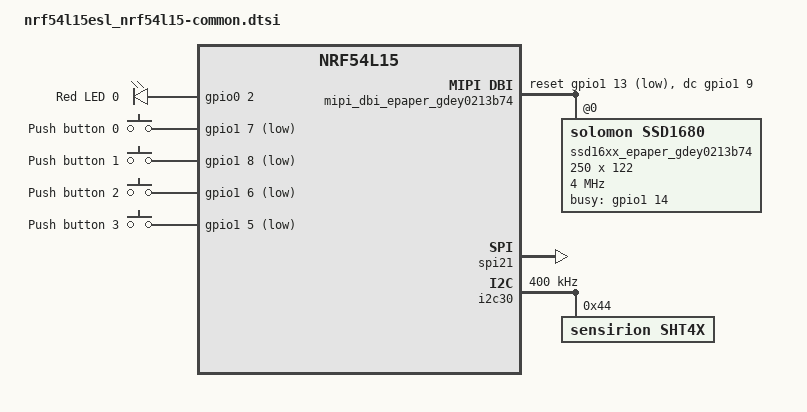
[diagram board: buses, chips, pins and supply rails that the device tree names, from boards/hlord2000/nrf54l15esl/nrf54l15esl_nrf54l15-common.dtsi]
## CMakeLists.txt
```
# SPDX-License-Identifier: Apache-2.0

cmake_minimum_required(VERSION 3.20.0)

find_package(Zephyr REQUIRED HINTS $ENV{ZEPHYR_BASE})
project(esl_peripheral_sync)

target_sources_ifdef(CONFIG_PAWR_EPD app PRIVATE 
					 src/display_manager.c
					 src/state_manager.c
					 src/ui_manager.c
					 src/routes/boot.c
					 src/routes/config.c
					 src/routes/nametag.c
					 src/images/nordic.c
					 src/images/boston.c
					 src/images/philadelphia.c
					 src/images/spartanburg.c
					 src/images/trondheim.c
					 src/images/sanjose.c
	   				 src/peripheral_sync.c
)

target_sources_ifdef(CONFIG_PAWR_EPD_POWER_PROFILING app PRIVATE
					 src/power_profiling.c
)

#target_sources_ifdef(CONFIG_SENSOR app PRIVATE src/environmental_sensor.c)
#target_sources_ifdef(CONFIG_INPUT app PRIVATE src/input_manager.c)

target_include_directories(app PRIVATE
	include
	${CMAKE_CURRENT_SOURCE_DIR}/../common/include
)
```

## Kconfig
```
menu "PAwR Mosaic Configuration"

config PAWR_EPD
	bool "Enabled EPD for PAwR demo"
	select DISPLAY
	imply LVGL
	imply LV_MEM_CUSTOM
	imply LV_USE_LOG
	imply LV_USE_LABEL
	imply LV_USE_IMG
	imply LV_USE_THEME_MONO
	imply LV_FONT_MONTSERRAT_10
	imply LV_FONT_MONTSERRAT_12
	imply LV_FONT_MONTSERRAT_14
	imply LV_FONT_MONTSERRAT_16
	imply LV_FONT_MONTSERRAT_18
	imply LV_FONT_MONTSERRAT_24

config PAWR_EPD_POWER_PROFILING 
	bool "Test power of EPD"
	select DISPLAY

endmenu

if PAWR_EPD

config LV_Z_VDB_SIZE
	default 16

config LV_DPI_DEF
	default 130

choice LV_COLOR_DEPTH
	default LV_COLOR_DEPTH_1
endchoice

config LV_Z_BITS_PER_PIXEL
	default 1

endif # PAWR_EPD

source "Kconfig.zephyr"
```

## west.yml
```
# Copyright (c) 2021 Nordic Semiconductor ASA
# SPDX-License-Identifier: Apache-2.0

manifest:
  remotes:
    - name: helmut 
      url-base: https://github.com/hlord2000

  projects:
    - name: nrf
      remote: helmut 
      repo-path: sdk-nrf
      revision: main
      import: true
```

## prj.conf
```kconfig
CONFIG_LOG=y
CONFIG_CONSOLE=y
CONFIG_SHELL=y

CONFIG_PM_DEVICE=y
CONFIG_PM_DEVICE_RUNTIME=y

CONFIG_MAIN_STACK_SIZE=4096

CONFIG_DISPLAY=y

CONFIG_PAWR_EPD_POWER_PROFILING=y

CONFIG_SENSOR=y
CONFIG_INPUT=y

CONFIG_DISPLAY_LOG_LEVEL_DBG=y
CONFIG_PM_DEVICE_LOG_LEVEL_DBG=y
CONFIG_LOG_MODE_IMMEDIATE=y

CONFIG_POWEROFF=y
```

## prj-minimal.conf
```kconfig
CONFIG_LOG=n
CONFIG_CONSOLE=n
CONFIG_SHELL=n
CONFIG_SERIAL=n
CONFIG_PRINTK=n
```

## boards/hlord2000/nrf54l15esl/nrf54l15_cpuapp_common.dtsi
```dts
/*
 * Copyright (c) 2024 Nordic Semiconductor ASA
 *
 * SPDX-License-Identifier: Apache-2.0
 */

/* This file is common to the secure and non-secure domain */

#include <nordic/nrf54l15_cpuapp.dtsi>
#include "nrf54l15esl_nrf54l15-common.dtsi"

/ {
	chosen {
		zephyr,console = &uart20;
		zephyr,shell-uart = &uart20;
		zephyr,uart-mcumgr = &uart20;
		zephyr,bt-mon-uart = &uart20;
		zephyr,bt-c2h-uart = &uart20;
		zephyr,flash-controller = &rram_controller;
		zephyr,flash = &cpuapp_rram;
		zephyr,ieee802154 = &ieee802154;
	};
};

&cpuapp_sram {
	status = "okay";
};

&lfxo {
	load-capacitors = "internal";
	load-capacitance-femtofarad = <7000>;
};

&hfxo {
	load-capacitors = "internal";
	load-capacitance-femtofarad = <17000>;
};

&regulators {
	status = "okay";
};

&vregmain {
	status = "okay";
	regulator-initial-mode = <NRF5X_REG_MODE_DCDC>;
};

&grtc {
	owned-channels = <0 1 2 3 4 5 6 7 8 9 10 11>;
	/* Channels 7-11 reserved for Zero Latency IRQs, 3-4 for FLPR */
	child-owned-channels = <3 4 7 8 9 10 11>;
	status = "okay";
};

&uicr {
	nfct-pins-as-gpios;
};

&cpuapp_rram {
	partitions {
		compatible = "fixed-partitions";
		#address-cells = <1>;
		#size-cells = <1>;
		boot_partition: partition@0 {
			label = "mcuboot";
			reg = <0x0 DT_SIZE_K(64)>;
		};
		slot0_partition: partition@10000 {
			label = "image-0";
			reg = <0x10000 DT_SIZE_K(324)>;
		};
		slot0_ns_partition: partition@61000 {
			label = "image-0-nonsecure";
			reg = <0x61000 DT_SIZE_K(324)>;
		};
		slot1_partition: partition@b2000 {
			label = "image-1";
			reg = <0xb2000 DT_SIZE_K(324)>;
		};
		slot1_ns_partition: partition@103000 {
			label = "image-1-nonsecure";
			reg = <0x103000 DT_SIZE_K(324)>;
		};
		/* 32k from 0x154000 to 0x15bfff reserved for TF-M partitions */
		storage_partition: partition@15c000 {
			label = "storage";
			reg = <0x15c000 DT_SIZE_K(36)>;
		};
	};
};

&uart20 {
	status = "okay";
};

&gpio0 {
	status = "okay";
};

&gpio1 {
	status = "okay";
};

&gpio2 {
	status = "okay";
};

&gpiote20 {
	status = "okay";
};

&gpiote30 {
	status = "okay";
};

&radio {
	status = "okay";
};

&ieee802154 {
	status = "okay";
};

&temp {
	status = "okay";
};

&clock {
	status = "okay";
};

&adc {
	status = "okay";
};
```

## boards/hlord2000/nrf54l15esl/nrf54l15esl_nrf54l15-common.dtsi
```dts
/*
 * Copyright (c) 2024 Nordic Semiconductor ASA
 *
 * SPDX-License-Identifier: Apache-2.0
 */

#include "nrf54l15esl_nrf54l15-pinctrl.dtsi"

/ {
	chosen {
		zephyr,display = &ssd16xx_epaper_gdey0213b74;
	};

	leds {
		compatible = "gpio-leds";
		led0: led_0 {
			gpios = <&gpio0 2 GPIO_ACTIVE_HIGH>;
			label = "Red LED 0";
		};
	};

	buttons: buttons {
		compatible = "gpio-keys";
		button0: button_0 {
			gpios = <&gpio1 7 (GPIO_PULL_UP | GPIO_ACTIVE_LOW)>;
			label = "Push button 0";
			zephyr,code = <INPUT_KEY_0>;
		};
		button1: button_1 {
			gpios = <&gpio1 8 (GPIO_PULL_UP | GPIO_ACTIVE_LOW)>;
			label = "Push button 1";
			zephyr,code = <INPUT_KEY_1>;
		};
		button2: button_2 {
			gpios = <&gpio1 6 (GPIO_PULL_UP | GPIO_ACTIVE_LOW)>;
			label = "Push button 2";
			zephyr,code = <INPUT_KEY_2>;
		};
		button3: button_3 {
			gpios = <&gpio1 5 (GPIO_PULL_UP | GPIO_ACTIVE_LOW)>;
			label = "Push button 3";
			zephyr,code = <INPUT_KEY_3>;
		};
	};

	pointer {
          compatible = "zephyr,lvgl-button-input";
          input = <&buttons>;
          input-codes = <INPUT_KEY_0 INPUT_KEY_1 INPUT_KEY_2 INPUT_KEY_3>;
          coordinates = <32 112>, <96 112>, <154 112>, <218 112>;
	};

	aliases {
		led0 = &led0;
		sw0 = &button0;
		sw1 = &button1;
		sw2 = &button2;
		sw3 = &button3;
		watchdog0 = &wdt31;
	};

	mipi_dbi_epaper_gdey0213b74 {
		compatible = "zephyr,mipi-dbi-spi";
		spi-dev = <&spi21>;
		dc-gpios = <&gpio1 9 GPIO_ACTIVE_HIGH>;
		reset-gpios = <&gpio1 13 GPIO_ACTIVE_LOW>;
		#address-cells = <1>;
		#size-cells = <0>;

		ssd16xx_epaper_gdey0213b74: ssd16xxfb@0 {
			compatible = "solomon,ssd1680";
			mipi-max-frequency = <4000000>;
			reg = <0>;
			width = <250>;
			height = <122>;
			busy-gpios = <&gpio1 14 GPIO_ACTIVE_HIGH>;

			full {
				border-waveform = <0x05>;
			};

			partial {
				border-waveform = <0x3c>;
			};
		};
	};
};

&uart20 {
	status = "disabled";
	current-speed = <115200>;
	pinctrl-0 = <&uart20_default>;
	pinctrl-1 = <&uart20_sleep>;
	pinctrl-names = "default", "sleep";
};

&spi21 {
	compatible = "nordic,nrf-spim";
	status = "okay";
	pinctrl-0 = <&spi21_default>;
	pinctrl-1 = <&spi21_sleep>;
	pinctrl-names = "default", "sleep";
	cs-gpios = <&gpio1 12 GPIO_ACTIVE_LOW>;
	zephyr,pm-device-runtime-auto;
};

&i2c30 {
	compatible = "nordic,nrf-twim";
	status = "okay";
	pinctrl-0 = <&i2c30_default>;
	pinctrl-1 = <&i2c30_sleep>;
	pinctrl-names = "default", "sleep";
	clock-frequency = <I2C_BITRATE_FAST>;
	sht4x@44 {
		status = "okay";
		compatible = "sensirion,sht4x";
		reg = <0x44>;
		repeatability = <0>;
	};
};
```

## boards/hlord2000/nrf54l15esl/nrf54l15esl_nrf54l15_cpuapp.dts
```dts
/*
 * Copyright (c) 2024 Nordic Semiconductor ASA
 *
 * SPDX-License-Identifier: Apache-2.0
 */

/dts-v1/;

#include "nrf54l15_cpuapp_common.dtsi"

/ {
	compatible = "nordic,nrf54l15esl_nrf54l15-cpuapp";
	model = "Nordic nRF54L15 DK nRF54L15 Application MCU";

	chosen {
		zephyr,code-partition = &slot0_partition;
		zephyr,sram = &cpuapp_sram;
	};
};
```

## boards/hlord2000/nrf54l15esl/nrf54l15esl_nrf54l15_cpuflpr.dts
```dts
/*
 * Copyright (c) 2024 Nordic Semiconductor ASA
 *
 * SPDX-License-Identifier: Apache-2.0
 */

/dts-v1/;
#include <nordic/nrf54l15_cpuflpr.dtsi>
#include "nrf54l15esl_nrf54l15-common.dtsi"

/ {
	model = "Nordic nRF54L15 DK nRF54L15 FLPR MCU";
	compatible = "nordic,nrf54l15esl_nrf54l15-cpuflpr";

	chosen {
		zephyr,console = &uart30;
		zephyr,shell-uart = &uart30;
		zephyr,code-partition = &cpuflpr_code_partition;
		zephyr,flash = &cpuflpr_rram;
		zephyr,sram = &cpuflpr_sram;
	};
};

&cpuflpr_sram {
	status = "okay";
	/* size must be increased due to booting from SRAM */
	reg = <0x20028000 DT_SIZE_K(96)>;
	ranges = <0x0 0x20028000 0x18000>;
};

&cpuflpr_rram {
	partitions {
		compatible = "fixed-partitions";
		#address-cells = <1>;
		#size-cells = <1>;

		cpuflpr_code_partition: partition@0 {
			label = "image-0";
			reg = <0x0 DT_SIZE_K(96)>;
		};
	};
};

&grtc {
	owned-channels = <3 4>;
	status = "okay";
};

&uart30 {
	status = "okay";
};

&gpio0 {
	status = "okay";
};

&gpio1 {
	status = "okay";
};

&gpio2 {
	status = "okay";
};

&gpiote20 {
	status = "okay";
};

&gpiote30 {
	status = "okay";
};
```

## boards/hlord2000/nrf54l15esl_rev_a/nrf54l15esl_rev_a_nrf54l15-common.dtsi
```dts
/*
 * Copyright (c) 2024 Nordic Semiconductor ASA
 *
 * SPDX-License-Identifier: Apache-2.0
 */

#include "nrf54l15esl_rev_a_nrf54l15-pinctrl.dtsi"

/ {
	chosen {
		zephyr,display = &ssd16xx_epaper_gdey0213b74;
	};

	leds {
		compatible = "gpio-leds";
		led0: led_0 {
			gpios = <&gpio0 2 GPIO_ACTIVE_HIGH>;
			label = "Red LED 0";
		};
	};

	buttons: buttons {
		compatible = "gpio-keys";
		button0: button_0 {
			gpios = <&gpio1 7 (GPIO_PULL_UP | GPIO_ACTIVE_LOW)>;
			label = "Push button 0";
			zephyr,code = <INPUT_KEY_0>;
		};
		button1: button_1 {
			gpios = <&gpio1 8 (GPIO_PULL_UP | GPIO_ACTIVE_LOW)>;
			label = "Push button 1";
			zephyr,code = <INPUT_KEY_1>;
		};
		button2: button_2 {
			gpios = <&gpio1 6 (GPIO_PULL_UP | GPIO_ACTIVE_LOW)>;
			label = "Push button 2";
			zephyr,code = <INPUT_KEY_2>;
		};
		button3: button_3 {
			gpios = <&gpio1 5 (GPIO_PULL_UP | GPIO_ACTIVE_LOW)>;
			label = "Push button 3";
			zephyr,code = <INPUT_KEY_3>;
		};
	};

	longpress: longpress {
		input = <&buttons>;
		compatible = "zephyr,input-longpress";
		input-codes = <INPUT_KEY_0>, <INPUT_KEY_1>, <INPUT_KEY_2>, <INPUT_KEY_3>;
		short-codes = <INPUT_KEY_A>, <INPUT_KEY_B>, <INPUT_KEY_C>, <INPUT_KEY_D>;
		long-codes = <INPUT_KEY_W>, <INPUT_KEY_X>, <INPUT_KEY_Y>, <INPUT_KEY_Z>;
		long-delay-ms = <1000>;
	};

	pointer {
		compatible = "zephyr,lvgl-button-input";
		input = <&buttons>;
		input-codes = <INPUT_KEY_A INPUT_KEY_B INPUT_KEY_C INPUT_KEY_D>;
		// Corresponds to button locations for bottom menu bar
		coordinates = <32 110>, <96 110>, <160 110>, <224 110>;
	};

	aliases {
		led0 = &led0;
		sw0 = &button0;
		sw1 = &button1;
		sw2 = &button2;
		sw3 = &button3;
		watchdog0 = &wdt31;
	};

	mipi_dbi_epaper_gdey0213b74 {
		compatible = "zephyr,mipi-dbi-spi";
		spi-dev = <&spi21>;
		dc-gpios = <&gpio1 9 GPIO_ACTIVE_HIGH>;
		reset-gpios = <&gpio1 13 GPIO_ACTIVE_LOW>;
		#address-cells = <1>;
		#size-cells = <0>;

		ssd16xx_epaper_gdey0213b74: ssd16xxfb@0 {
			compatible = "gooddisplay,gdey0213b74", "solomon,ssd1680";
			mipi-max-frequency = <4000000>;
			reg = <0>;
			width = <250>;
			height = <122>;
			busy-gpios = <&gpio1 14 GPIO_ACTIVE_HIGH>;

			//tssv = <0x80>;

			full {
				border-waveform = <0x05>;
			};

			partial {
				border-waveform = <0x3c>;
			};
		};
	};
};

&uart20 {
	status = "okay";
	current-speed = <115200>;
	pinctrl-0 = <&uart20_default>;
	pinctrl-1 = <&uart20_sleep>;
	pinctrl-names = "default", "sleep";
};

&spi21 {
	compatible = "nordic,nrf-spim";
	status = "okay";
	pinctrl-0 = <&spi21_default>;
	pinctrl-1 = <&spi21_sleep>;
	pinctrl-names = "default", "sleep";
	cs-gpios = <&gpio1 12 GPIO_ACTIVE_LOW>;
};

&i2c30 {
	compatible = "nordic,nrf-twim";
	status = "okay";
	pinctrl-0 = <&i2c30_default>;
	pinctrl-1 = <&i2c30_sleep>;
	pinctrl-names = "default", "sleep";
	clock-frequency = <I2C_BITRATE_FAST>;
	sht4x@44 {
		status = "okay";
		compatible = "sensirion,sht4x";
		reg = <0x44>;
		repeatability = <2>;
	};
};
```

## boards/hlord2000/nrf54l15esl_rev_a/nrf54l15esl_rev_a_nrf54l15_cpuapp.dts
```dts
/*
 * Copyright (c) 2024 Nordic Semiconductor ASA
 *
 * SPDX-License-Identifier: Apache-2.0
 */

/dts-v1/;

#include "nrf54l15_cpuapp_common.dtsi"

/ {
	compatible = "nordic,nrf54l15esl_rev_a_nrf54l15-cpuapp";
	model = "Nordic nRF54L15 PDK nRF54L15 Application MCU";

	chosen {
		zephyr,code-partition = &slot0_partition;
		zephyr,sram = &cpuapp_sram;
	};
};
```

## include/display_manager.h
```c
#ifndef DISPLAY_MANAGER_H__
#define DISPLAY_MANAGER_H__

#include <zephyr/device.h>
#include <lvgl.h>

void display_manager_full_update(void);

void display_manager_partial_update(void);

int display_manager_resume(void);

int display_manager_suspend(void);

bool display_manager_is_active(void);

#endif /* DISPLAY_MANAGER_H__ */
```

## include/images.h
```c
#ifndef IMAGES_H__
#define IMAGES_H__

#include "lvgl.h"

extern const lv_img_dsc_t nordic;
extern const lv_img_dsc_t boston;
extern const lv_img_dsc_t philadelphia;
extern const lv_img_dsc_t spartanburg;
extern const lv_img_dsc_t trondheim;
extern const lv_img_dsc_t sanjose;

#endif
```

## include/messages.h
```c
#ifndef EPD_MESSAGES__
#define EPD_MESSAGES__

#endif
```

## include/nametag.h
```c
#ifndef NAMETAG_H__
#define NAMETAG_H__

#include <stdint.h>
#include <string.h>

void nametag_display_show(uint8_t index);
void nametag_display_next(void);
void nametag_display_previous(void);
size_t nametag_get_string(char *str, size_t length);

#endif
```

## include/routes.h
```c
#ifndef ROUTES_H__
#define ROUTES_H__

#include "ui_manager.h"

enum routes {
	BOOT_ROUTE,
	CONFIG_ROUTE,
	NAMETAG_ROUTE,
	MOSAIC_ROUTE,
	DIAGNOSTICS_ROUTE,
};

struct route_ctx {
	enum routes route;
	button_config_t *bottom_bar_buttons;
};

typedef void (*route_handler_t)(void);

void handle_boot(void);
void handle_config(void);

static route_handler_t route_handlers[] = {
	handle_boot,
    handle_config,
#if 0
    handle_nametag,
    handle_mosaic,
    handle_diagnostics,
#endif
};

static inline void execute_route(enum routes route) {
	ui_manager_clear_main();
	route_handlers[route]();
}

/* BOOT FUNCTIONS */
void boot_cleanup(void);

/* CONFIG FUNCTIONS */
int config_get_selected(void);

#endif
```

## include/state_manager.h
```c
#ifndef STATE_MANAGER_H__
#define STATE_MANAGER_H__

#include <stdint.h>
#include <zephyr/kernel.h>
#include <zephyr/smf.h>

#define EVENT_KEY_0     BIT(0)
#define EVENT_KEY_1     BIT(1)
#define EVENT_KEY_2     BIT(2)
#define EVENT_KEY_3     BIT(3)
#define EVENT_BOOT_DONE BIT(4)

struct epd_sm_data {
    struct smf_ctx ctx;
    struct k_event smf_event;
    struct k_timer boot_timer;
    uint32_t events;
    uint8_t current_state;
};

#endif
```

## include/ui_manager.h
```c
#ifndef UI_MANAGER_H
#define UI_MANAGER_H

#include <zephyr/kernel.h>
#include <zephyr/device.h>
#include <zephyr/drivers/display.h>
#include <lvgl.h>

// Display configuration
#define STATUS_HEIGHT 20
#define CONTENT_HEIGHT (Y_RESOLUTION - STATUS_HEIGHT)
#define RIGHT_MARGIN 10

// UI Component handles
typedef struct {
    lv_obj_t *screen;
    lv_obj_t *top_bar;
    lv_obj_t *main_content;
    lv_obj_t *bottom_bar;
    lv_obj_t *company_label;
    lv_obj_t *battery_label;
} ui_components_t;

// Bottom bar button configuration
typedef struct {
    const char *text;
    bool visible;
    lv_event_cb_t callback;
	int index;
} button_config_t;

/**
 * @brief Initialize the UI manager
 * 
 * @param display Display device pointer
 * @return int 0 on success, negative errno on failure
 */ int ui_manager_init();

/**
 * @brief Clean the main content area
 */
void ui_manager_clear_main(void);

/**
 * @brief Get pointer to main content area
 * 
 * @return lv_obj_t* Pointer to main content object
 */
lv_obj_t *ui_manager_get_main(void);

/**
 * @brief Update battery status icon
 * 
 * @param battery_symbol LVGL symbol string for battery
 */
void ui_manager_update_battery(const char *battery_symbol);

/**
 * @brief Update company name in top bar
 * 
 * @param name New company name string
 */
void ui_manager_update_company(const char *name);

/**
 * @brief Configure bottom bar buttons
 * 
 * @param buttons Array of button configurations
 * @param button_count Number of buttons
 */
void ui_manager_set_buttons(button_config_t *buttons, uint8_t button_count);

/**
 * @brief Show or hide bottom bar
 * 
 * @param show true to show, false to hide
 */
void ui_manager_show_bottom_bar(bool show);

bool ui_manager_is_bottom_bar_visible(void);

#endif /* UI_MANAGER_H */
```

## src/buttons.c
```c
#include <zephyr/kernel.h>
#include <zephyr/device.h>
#include <zephyr/logging/log.h>

#if defined(CONFIG_PM_DEVICE)
#include <zephyr/pm/device.h>
#endif

LOG_MODULE_REGISTER(buttons, LOG_LEVEL_INF);

static const struct device *const buttons_dev = DEVICE_DT_GET(DT_NODELABEL(buttons));

int buttons_init(void) {
    int err = pm_device_action_run(buttons_dev, PM_DEVICE_ACTION_RESUME);
	return err;
}

SYS_INIT(buttons_init, APPLICATION, 90);
```

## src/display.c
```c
#include <zephyr/kernel.h>
#include <zephyr/smf.h>
#include <zephyr/device.h>
#include <zephyr/devicetree.h> 
#include <zephyr/pm/device.h>
#include <zephyr/drivers/display.h> 
#include <zephyr/input/input.h>
#include <lvgl.h>

#include "images.h"

#define LOG_LEVEL CONFIG_LOG_DEFAULT_LEVEL
#include <zephyr/logging/log.h>
LOG_MODULE_REGISTER(display, LOG_LEVEL);

/* Event definitions */
#define EVENT_KEY_0     BIT(0)
#define EVENT_KEY_1     BIT(1)
#define EVENT_KEY_2     BIT(2)
#define EVENT_KEY_3     BIT(3)
#define EVENT_BOOT_DONE BIT(4)

#define BOOT_DISPLAY_DURATION_MS 5000  // 5 seconds boot display duration

const struct device *display_dev = DEVICE_DT_GET(DT_CHOSEN(zephyr_display));
#define X_RESOLUTION (int)DT_PROP(DT_CHOSEN(zephyr_display), width)
#define Y_RESOLUTION (int)DT_PROP(DT_CHOSEN(zephyr_display), height)

#define STATUS_HEIGHT 20
#define CONTENT_HEIGHT (Y_RESOLUTION - STATUS_HEIGHT)  // Remaining height
#define ICON_SPACING 20  // Space between icons
#define RIGHT_MARGIN 10  // Margin from right edge

static bool display_active = true;

#if defined(CONFIG_PM_DEVICE)
static int epd_suspend(const struct device *dev) {
    int err = pm_device_action_run(dev, PM_DEVICE_ACTION_SUSPEND);
    if (err) {
        LOG_ERR("Failed to suspend display: %d", err);
        return err;
    }
    display_active = false;
    LOG_INF("Display suspended");
    return 0;
}

static int epd_resume(const struct device *dev) {
    int err = pm_device_action_run(dev, PM_DEVICE_ACTION_RESUME);
    if (err) {
        LOG_ERR("Failed to resume display: %d", err);
        return err;
    }
    display_active = true;
    LOG_INF("Display resumed");
    return 0;
}
#endif

static void epd_partial_update(void) {
    lv_task_handler();
}

static void epd_full_update(void) {
    display_blanking_on(display_dev);
    lv_task_handler();
    display_blanking_off(display_dev);
}

static void epd_set_image(const lv_img_dsc_t *image) {
    LOG_INF("Setting image");
    lv_obj_t *display_image = lv_img_create(lv_scr_act());
    lv_img_set_src(display_image, image);
    return;    
}

enum display_states { BOOT, CONFIG, NAME_SELECTOR, NAME_TAG, MOSAIC };

// State machine context structure
struct display_sm_data {
    struct smf_ctx ctx;
    struct k_event smf_event;
    struct k_timer boot_timer;
    uint32_t events;
    uint8_t current_state;
};

// Global state machine context
static struct display_sm_data sm_data;

// Forward declarations for state handlers
static void boot_entry(void *o);
static void boot_run(void *o);
static void boot_exit(void *o);

static void config_entry(void *o);
static void config_run(void *o);
static void config_exit(void *o);

static void name_select_entry(void *o);
static void name_select_exit(void *o);
static void name_tag_entry(void *o);
static void name_tag_exit(void *o);

static void mosaic_entry(void *o);
static void mosaic_exit(void *o);

static void boot_timer_expired(struct k_timer *timer) {
    k_event_post(&sm_data.smf_event, EVENT_BOOT_DONE);
}

// State machine state definitions
static const struct smf_state display_states[] = {
    [BOOT] = SMF_CREATE_STATE(boot_entry, boot_run, boot_exit, NULL, NULL),
    [CONFIG] = SMF_CREATE_STATE(config_entry, config_run, config_exit, NULL, NULL),
    [NAME_SELECTOR] = SMF_CREATE_STATE(name_select_entry, NULL, name_select_exit, NULL, NULL),
    [NAME_TAG] = SMF_CREATE_STATE(name_tag_entry, NULL, name_tag_exit, NULL, NULL),
    [MOSAIC] = SMF_CREATE_STATE(mosaic_entry, NULL, mosaic_exit, NULL, NULL),
};

// Boot state handlers
static void boot_entry(void *o) {
    struct display_sm_data *sm = (struct display_sm_data *)o;

    LOG_INF("Entering boot state");
    
    // Start boot display timer
    k_timer_start(&sm->boot_timer, K_MSEC(BOOT_DISPLAY_DURATION_MS), K_NO_WAIT);

	// Resume display
	epd_resume(display_dev);
}

static void boot_run(void *o) {
    struct display_sm_data *sm = (struct display_sm_data *)o;

    LOG_INF("Running boot state");

	static bool image_set = false;
	if (!image_set) {
		epd_set_image(&nordic);
		epd_full_update();
		image_set = true;
	}
    
    if (sm->events & EVENT_BOOT_DONE) {
        smf_set_state(SMF_CTX(&sm->ctx), &display_states[CONFIG]);
    }
	return;
}

static void boot_exit(void *o) {
    struct display_sm_data *sm = (struct display_sm_data *)o;

    LOG_INF("Exiting boot state");

    k_timer_stop(&sm->boot_timer);
	epd_suspend(display_dev);
}

// Config state handlers
static void config_entry(void *o) {
    struct display_sm_data *sm = (struct display_sm_data *)o;

    LOG_INF("Entering config state");

    sm->current_state = CONFIG;

	epd_resume(display_dev);

	lv_obj_clean(lv_scr_act());

    // Get the active screen
    lv_obj_t *scr = lv_scr_act();
    
    // Set up the grid with fixed height values
    static lv_coord_t col_dsc[] = {X_RESOLUTION, LV_GRID_TEMPLATE_LAST};
    static lv_coord_t row_dsc[] = {STATUS_HEIGHT, CONTENT_HEIGHT, LV_GRID_TEMPLATE_LAST};
    
    lv_obj_set_grid_dsc_array(scr, col_dsc, row_dsc);
    lv_obj_set_layout(scr, LV_LAYOUT_GRID);
   	
    // Create top status bar container
    LOG_INF("Creating status bar");
    lv_obj_t *top_bar = lv_obj_create(scr); 
	lv_obj_remove_style_all(top_bar);

	lv_obj_set_grid_cell(top_bar, LV_GRID_ALIGN_STRETCH, 0, 1,
                        LV_GRID_ALIGN_STRETCH, 0, 1);
    
    // Add name text on the left
    lv_obj_t *company_label = lv_label_create(top_bar);
    lv_label_set_text(company_label, "Nordic Semiconductor");
	lv_obj_set_style_text_font(company_label, &lv_font_montserrat_14, 0);
	lv_obj_set_style_text_color(company_label, lv_color_make(0, 0, 0), 0);
    lv_obj_align(company_label, LV_ALIGN_LEFT_MID, 10, 0);  // 10px margin from left
    
    // Battery icon 
    lv_obj_t *battery_label = lv_label_create(top_bar);
    lv_label_set_text(battery_label, LV_SYMBOL_BATTERY_FULL);
	lv_obj_set_style_text_font(battery_label, &lv_font_montserrat_16, 0);
	lv_obj_set_style_text_color(battery_label, lv_color_make(0, 0, 0), 0);
    lv_obj_align(battery_label, LV_ALIGN_RIGHT_MID, -RIGHT_MARGIN, 0);

    // Create main content area
    lv_obj_t *main_content = lv_obj_create(scr);
    lv_obj_set_grid_cell(main_content, LV_GRID_ALIGN_STRETCH, 0, 1,
                        LV_GRID_ALIGN_STRETCH, 1, 1);
 
	epd_full_update();
	
	epd_suspend(display_dev);
}

static void config_run(void *o) {
    struct display_sm_data *sm = (struct display_sm_data *)o;

    LOG_INF("Running config state");

    // Handle transitions based on any existing events
    if (sm->events & EVENT_KEY_0) {
        smf_set_state(SMF_CTX(&sm->ctx), &display_states[NAME_SELECTOR]);
    } else if (sm->events & EVENT_KEY_1) {
        smf_set_state(SMF_CTX(&sm->ctx), &display_states[NAME_TAG]);
    } else if (sm->events & EVENT_KEY_2) {
        smf_set_state(SMF_CTX(&sm->ctx), &display_states[MOSAIC]);
    }
	return;
}

static void config_exit(void *o) {
    LOG_INF("Exiting config state");
	epd_suspend(display_dev);
}

// Name selector state handlers
static void name_select_entry(void *o) {
    struct display_sm_data *sm = (struct display_sm_data *)o;
    LOG_INF("Entering name selector state");
    epd_resume(display_dev);
    sm->current_state = NAME_SELECTOR;
    
    // Handle transition if event is present
    if (sm->events & EVENT_KEY_3) {
        smf_set_state(SMF_CTX(&sm->ctx), &display_states[NAME_TAG]);
    }
}

static void name_select_exit(void *o) {
    LOG_INF("Exiting name selector state");
}

// Name tag state handlers
static void name_tag_entry(void *o) {
    struct display_sm_data *sm = (struct display_sm_data *)o;
    LOG_INF("Entering name tag state");
    epd_resume(display_dev);
    sm->current_state = NAME_TAG;
    // Auto transition back to config
    smf_set_state(SMF_CTX(&sm->ctx), &display_states[CONFIG]);
}

static void name_tag_exit(void *o) {
    LOG_INF("Exiting name tag state");
}

// Mosaic state handlers
static void mosaic_entry(void *o) {
    struct display_sm_data *sm = (struct display_sm_data *)o;
    LOG_INF("Entering mosaic state");
    epd_resume(display_dev);
    sm->current_state = MOSAIC;
    // Auto transition back to config
    smf_set_state(SMF_CTX(&sm->ctx), &display_states[CONFIG]);
}

static void mosaic_exit(void *o) {
    LOG_INF("Exiting mosaic state");
}

static const struct device *const buttons_dev = DEVICE_DT_GET(DT_NODELABEL(buttons));

// Button callback that posts events
static void buttons_callback(struct input_event *evt, void *user_data) {
    ARG_UNUSED(user_data);
    if (evt->type == INPUT_EV_KEY) {
        switch(evt->code) {
        case INPUT_KEY_0:
            LOG_INF("Button 0 pressed, posting EVENT_KEY_0");
            k_event_post(&sm_data.smf_event, EVENT_KEY_0);
            break;
        case INPUT_KEY_1:
            LOG_INF("Button 1 pressed, posting EVENT_KEY_1");
            k_event_post(&sm_data.smf_event, EVENT_KEY_1);
            break;
        case INPUT_KEY_2:
            LOG_INF("Button 2 pressed, posting EVENT_KEY_2");
            k_event_post(&sm_data.smf_event, EVENT_KEY_2);
            break;
        case INPUT_KEY_3:
            LOG_INF("Button 3 pressed, posting EVENT_KEY_3");
            k_event_post(&sm_data.smf_event, EVENT_KEY_3);
            break;
        default:
            LOG_WRN("Unknown button code: %d", evt->code);
            break;
        }
    }
}

INPUT_CALLBACK_DEFINE(buttons_dev, buttons_callback, NULL);

// Display initialization
static int epd_init(void) {
    if (!device_is_ready(display_dev)) {
        LOG_ERR("Display device not ready");
        return -1;
    }
    display_blanking_off(display_dev);
    
#if defined(CONFIG_PM_DEVICE)
    epd_suspend(display_dev);
#endif
    return 0;
}

// State machine initialization
static int display_sm_init(void) {
    LOG_INF("Initializing display state machine");
    
    // Initialize event system
    k_event_init(&sm_data.smf_event);
    LOG_DBG("Event system initialized");
    
    // Initialize boot timer
    k_timer_init(&sm_data.boot_timer, boot_timer_expired, NULL);
    LOG_DBG("Boot timer initialized");
    
    // Initialize state machine
#if 0
    smf_set_initial(SMF_CTX(&sm_data.ctx), &display_states[BOOT]);
    sm_data.current_state = BOOT;
#else
    smf_set_initial(SMF_CTX(&sm_data.ctx), &display_states[CONFIG]);
    sm_data.current_state = CONFIG;
#endif
    sm_data.events = 0;
    LOG_INF("State machine initialized to BOOT state");
    
    return 0;
}

// State machine thread
static void epd_thread(void *p1, void *p2, void *p3) {
    ARG_UNUSED(p1);
    ARG_UNUSED(p2);
    ARG_UNUSED(p3);
    
    LOG_INF("EPD thread starting, running initial state machine");
    
    // Run state machine immediately to handle boot state
    if (smf_run_state(SMF_CTX(&sm_data.ctx))) {
        LOG_ERR("Initial state machine run failed");
    }

    while (1) {
        // Wait for any event (button or timer)
        LOG_DBG("Waiting for events...");
        sm_data.events = k_event_wait(&sm_data.smf_event,
                                    EVENT_KEY_0 | EVENT_KEY_1 | EVENT_KEY_2 | 
                                    EVENT_KEY_3 | EVENT_BOOT_DONE,
                                    true, K_MSEC(100));
		if (sm_data.events != 0) {
			LOG_INF("Got events: 0x%x", sm_data.events);
		}
        
        // Run state machine
        if (smf_run_state(SMF_CTX(&sm_data.ctx))) {
            LOG_ERR("State machine run failed");
        }
        
        LOG_DBG("Clearing events");
        sm_data.events = 0;
    }
}

// Thread definition with 8192 stack size
K_THREAD_DEFINE(epd_thread_id, 8192, epd_thread, NULL, NULL, NULL, 7, 0, 0);

SYS_INIT(epd_init, APPLICATION, 90);
SYS_INIT(display_sm_init, APPLICATION, 99);
```

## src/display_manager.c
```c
#include <zephyr/kernel.h>
#include <zephyr/devicetree.h>
#include <zephyr/pm/device.h>
#include <zephyr/drivers/display.h>
#include <lvgl.h>

#include <zephyr/logging/log.h>
LOG_MODULE_REGISTER(display_manager, LOG_LEVEL_INF);

#include "display_manager.h"

static const struct device *display_dev = DEVICE_DT_GET(DT_CHOSEN(zephyr_display));

static bool display_active = true;

void display_manager_full_update(void) {
    if (!display_active) {
        return;
    }
    display_blanking_on(display_dev);
    lv_task_handler();
    display_blanking_off(display_dev);
}

void display_manager_partial_update(void) {
    if (!display_active) {
        return;
    }
    lv_task_handler();
}

int display_manager_resume(void) {
#if defined(CONFIG_PM_DEVICE)
    int err = pm_device_action_run(display_dev, PM_DEVICE_ACTION_RESUME);
    if (err) {
        LOG_ERR("Failed to resume display: %d", err);
        return err;
    }
    display_active = true;
    LOG_INF("Display resumed");
#endif
    return 0;
}

int display_manager_suspend(void) {
#if defined(CONFIG_PM_DEVICE)
    int err = pm_device_action_run(display_dev, PM_DEVICE_ACTION_SUSPEND);
    if (err) {
        LOG_ERR("Failed to suspend display: %d", err);
        return err;
    }
    display_active = false;
    LOG_INF("Display suspended");
#endif
    return 0;
}

bool display_manager_is_active(void) {
	return display_active;
}
```

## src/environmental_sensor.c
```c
#include <zephyr/kernel.h>
#include <zephyr/zbus/zbus.h>
#include <zephyr/drivers/sensor.h>
#include <zephyr/logging/log.h>

LOG_MODULE_REGISTER(environmental_sensor, LOG_LEVEL_INF);

#include "esl_packets.h"

const struct device *const sht = DEVICE_DT_GET_ANY(sensirion_sht4x);

ZBUS_CHAN_DEFINE(sensor_chan, 
				 struct esl_sensor_reading,
				 NULL,
				 NULL,
				 ZBUS_OBSERVERS_EMPTY,
				 ZBUS_MSG_INIT(0)
);

struct esl_sensor_reading sensor_reading = {0};
struct sensor_value temp = {0};
struct sensor_value hum = {0};

#if defined(CONFIG_ESL_SENSOR_MOCK)
static void sensor_get_work_handler(struct k_work *work) {
	LOG_INF("Getting sensor, mock");
}
#else

static void sensor_get_work_handler(struct k_work *work) {
	if (sensor_sample_fetch(sht)) {
		LOG_INF("Failed to fetch sample from SHT4X device");
		return;
	}
	sensor_channel_get(sht, SENSOR_CHAN_AMBIENT_TEMP, &temp);
	sensor_channel_get(sht, SENSOR_CHAN_HUMIDITY, &hum);

	sensor_reading.temperature = sensor_value_to_float(&temp);
	sensor_reading.humidity = sensor_value_to_float(&hum);

	int err = zbus_chan_pub(&sensor_chan, &sensor_reading, K_SECONDS(1));
	if (err < 0) {
		LOG_ERR("Failed to publish sensor value");
	}
}
#endif

static K_WORK_DEFINE(sensor_get_work, sensor_get_work_handler);

static void sensor_timer_expiry_function(struct k_timer *timer_id) {
	int err = k_work_submit(&sensor_get_work);
	if (err < 0) {
		LOG_ERR("Failed to submit sensor get work item");
	}
}

K_TIMER_DEFINE(sensor_timer, sensor_timer_expiry_function, NULL);

static int sensor_timer_init(void) {
	LOG_INF("Initialized sensor timer");
	k_timer_start(&sensor_timer, K_SECONDS(5), K_SECONDS(5));
	return 0;
}

SYS_INIT(sensor_timer_init, APPLICATION, 90);
```

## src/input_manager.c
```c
#include <zephyr/kernel.h>
#include <zephyr/device.h>
#include <zephyr/logging/log.h>

#if defined(CONFIG_PM_DEVICE)
#include <zephyr/pm/device.h>
#endif

LOG_MODULE_REGISTER(input_manager, LOG_LEVEL_INF);

static const struct device *const buttons_dev = DEVICE_DT_GET(DT_NODELABEL(buttons));

int buttons_init(void) {
    int err = pm_device_action_run(buttons_dev, PM_DEVICE_ACTION_RESUME);
	return err;
}

SYS_INIT(buttons_init, APPLICATION, 90);
```
